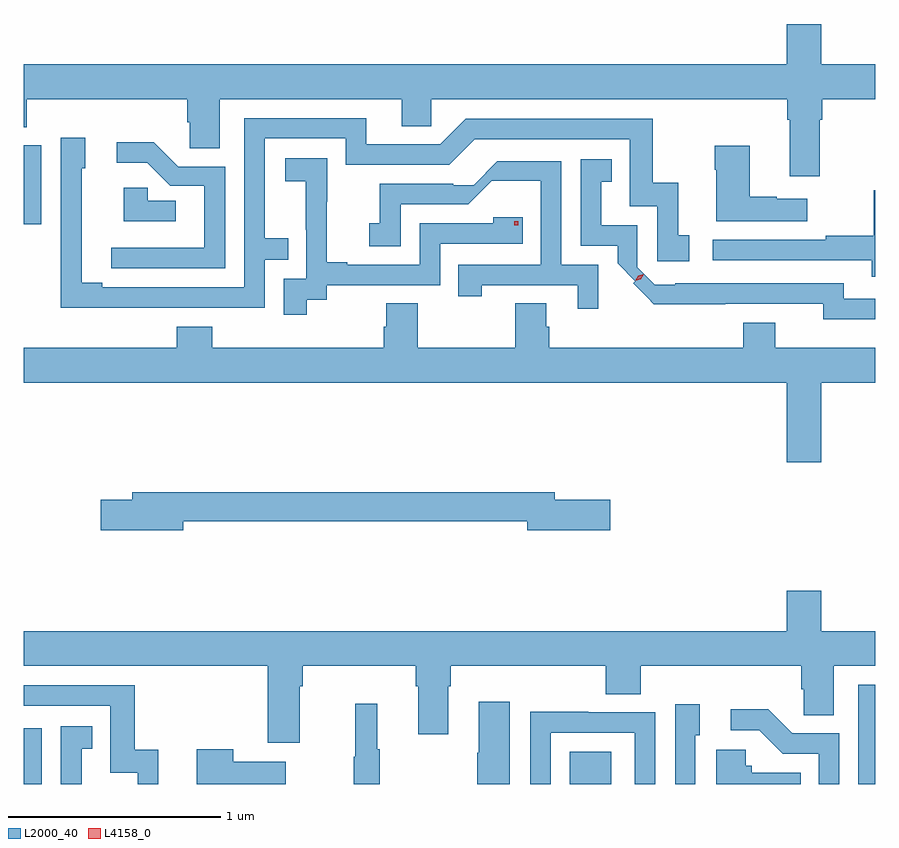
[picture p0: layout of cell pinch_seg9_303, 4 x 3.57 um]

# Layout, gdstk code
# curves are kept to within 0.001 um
import gdstk
lib = gdstk.Library(unit=1e-6, precision=1e-09)
def R(c, l, rs):  # rectangles x0, y0, x1, y1
    for r in rs: c.add(gdstk.rectangle(r[:2], r[2:], *l))
def P(c, l, *ps):  # polygons
    for p in ps: c.add(gdstk.Polygon(p, *l))
L2000_40 = (2000, 40)
L4158_0 = (4158, 0)

pinch_seg9_303 = lib.new_cell('pinch_seg9_303')
R(pinch_seg9_303, L2000_40, [(509.076,1186.541,509.16,1186.803), (511.64,1186.541,511.837,1186.693), (512.997,1186.541,513.076,1187.007), (509.076,1189.173,509.157,1189.542)])
P(pinch_seg9_303, L2000_40, [(512.815,1189.664),(512.828,1189.664),(512.828,1189.76),(513.076,1189.76),(513.076,1189.924),(512.824,1189.924),(512.824,1190.113),(512.66,1190.113),(512.66,1189.924),(509.076,1189.924),(509.076,1189.627),(509.09,1189.627),(509.09,1189.76),(509.843,1189.76),(509.843,1189.651),(509.856,1189.651),(509.856,1189.528),(509.995,1189.528),(509.995,1189.76),(510.851,1189.76),(510.851,1189.633),(510.99,1189.633),(510.99,1189.76),(512.663,1189.76),(512.663,1189.664),(512.675,1189.664),(512.675,1189.398),(512.815,1189.398)],
  [(509.711,1188.78),(510.207,1188.78),(510.207,1189.005),(510.317,1189.005),(510.317,1189.106),(510.207,1189.106),(510.207,1189.575),(510.588,1189.575),(510.588,1189.452),(511.074,1189.452),(511.194,1189.572),(511.923,1189.572),(511.923,1189.257),(512.052,1189.257),(512.052,1188.999),(512.203,1188.999),(512.203,1189.119),(512.15,1189.119),(512.15,1189.366),(512.032,1189.366),(512.032,1189.668),(511.152,1189.668),(511.032,1189.548),(510.685,1189.548),(510.685,1189.671),(510.111,1189.671),(510.111,1188.876),(509.443,1188.876),(509.443,1188.896),(509.347,1188.896),(509.348,1189.434),(509.365,1189.434),(509.365,1189.579),(509.25,1189.579),(509.25,1189.085),(509.248,1189.085),(509.248,1188.779)],
  [(510.021,1189.443),(509.802,1189.443),(509.687,1189.558),(509.511,1189.558),(509.511,1189.46),(509.655,1189.46),(509.763,1189.353),(509.924,1189.353),(509.924,1189.062),(509.487,1189.062),(509.487,1188.966),(510.021,1188.966)],
  [(512.758,1189.291),(512.615,1189.291),(512.615,1189.301),(512.488,1189.301),(512.488,1189.54),(512.323,1189.54),(512.323,1189.427),(512.33,1189.427),(512.33,1189.187),(512.758,1189.187)],
  [(510.406,1188.817),(510.498,1188.817),(510.498,1188.885),(511.032,1188.885),(511.032,1189.08),(511.421,1189.08),(511.421,1189.204),(511.281,1189.204),(511.281,1189.176),(510.936,1189.176),(510.936,1188.981),(510.595,1188.981),(510.595,1188.994),(510.5,1188.994),(510.5,1189.277),(510.501,1189.277),(510.501,1189.483),(510.303,1189.483),(510.303,1189.373),(510.401,1189.373),(510.401,1189.145),(510.402,1189.145),(510.402,1188.915),(510.297,1188.915),(510.297,1188.747),(510.406,1188.747)],
  [(513.076,1188.822),(512.928,1188.822),(512.928,1188.894),(512.137,1188.894),(512.137,1188.888),(512.04,1188.888),(511.959,1188.969),(511.959,1189.167),(511.789,1189.167),(511.789,1189.371),(511.838,1189.371),(511.838,1189.477),(511.692,1189.477),(511.692,1189.071),(511.866,1189.071),(511.866,1188.988),(511.949,1188.905),(511.939,1188.895),(512.037,1188.797),(512.832,1188.798),(512.832,1188.725),(513.076,1188.725)],
  [(511.776,1188.981),(511.602,1188.981),(511.602,1189.467),(511.301,1189.467),(511.19,1189.356),(511.093,1189.356),(511.093,1189.362),(510.748,1189.362),(510.748,1189.177),(510.699,1189.177),(510.699,1189.068),(510.846,1189.068),(510.846,1189.266),(511.163,1189.266),(511.274,1189.377),(511.506,1189.377),(511.506,1188.981),(511.117,1188.981),(511.117,1188.834),(511.228,1188.834),(511.228,1188.885),(511.679,1188.885),(511.679,1188.774),(511.776,1188.774)],
  [(509.79,1189.282),(509.657,1189.282),(509.657,1189.344),(509.545,1189.344),(509.545,1189.185),(509.79,1189.185)],
  [(513.076,1189.332),(513.069,1189.332),(513.069,1189.118),(512.845,1189.118),(512.845,1189.098),(512.313,1189.098),(512.313,1189.002),(513.061,1189.002),(513.061,1188.924),(513.076,1188.924)],
  [(512.824,1188.428),(513.076,1188.428),(513.076,1188.592),(512.608,1188.592),(512.608,1188.709),(512.456,1188.709),(512.456,1188.592),(511.544,1188.592),(511.544,1188.69),(511.531,1188.69),(511.531,1188.8),(511.384,1188.8),(511.384,1188.592),(510.927,1188.592),(510.927,1188.8),(510.779,1188.8),(510.779,1188.69),(510.767,1188.69),(510.767,1188.592),(509.96,1188.592),(509.96,1188.691),(509.795,1188.691),(509.795,1188.592),(509.076,1188.592),(509.076,1188.428),(512.66,1188.428),(512.66,1188.054),(512.824,1188.054)],
  [(509.824,1187.776),(511.442,1187.776),(511.442,1187.734),(511.831,1187.734),(511.831,1187.876),(511.57,1187.876),(511.57,1187.912),(509.585,1187.912),(509.585,1187.876),(509.436,1187.876),(509.436,1187.734),(509.824,1187.734)],
  [(510.373,1187),(510.386,1187),(510.386,1187.096),(510.917,1187.096),(510.917,1187),(510.929,1187),(510.929,1186.776),(511.069,1186.776),(511.069,1187),(511.082,1187),(511.082,1187.096),(511.811,1187.096),(511.811,1186.963),(511.976,1186.963),(511.976,1187.096),(512.729,1187.096),(512.729,1186.987),(512.742,1186.987),(512.742,1186.864),(512.881,1186.864),(512.881,1187.096),(513.076,1187.096),(513.076,1187.26),(512.824,1187.26),(512.824,1187.449),(512.66,1187.449),(512.66,1187.26),(509.076,1187.26),(509.076,1187.096),(510.221,1187.096),(510.221,1186.734),(510.373,1186.734)],
  [(509.708,1186.702),(509.597,1186.702),(509.597,1187.004),(509.076,1187.004),(509.076,1186.908),(509.481,1186.908),(509.481,1186.593),(509.61,1186.593),(509.61,1186.541),(509.708,1186.541)],
  [(511.36,1186.927),(511.214,1186.927),(511.214,1186.688),(511.207,1186.688),(511.207,1186.541),(511.36,1186.541)],
  [(510.748,1186.705),(510.737,1186.705),(510.737,1186.918),(510.634,1186.918),(510.634,1186.668),(510.627,1186.668),(510.627,1186.541),(510.748,1186.541)],
  [(512.232,1186.77),(512.251,1186.77),(512.251,1186.915),(512.136,1186.915),(512.136,1186.541),(512.232,1186.541)],
  [(512.907,1186.779),(512.688,1186.779),(512.575,1186.892),(512.397,1186.892),(512.397,1186.794),(512.531,1186.794),(512.642,1186.683),(512.811,1186.683),(512.811,1186.541),(512.907,1186.541)],
  [(511.551,1186.782),(511.947,1186.782),(511.947,1186.541),(512.043,1186.541),(512.043,1186.878),(511.727,1186.878),(511.727,1186.88),(511.455,1186.88),(511.455,1186.541),(511.551,1186.541)],
  [(509.347,1186.707),(509.396,1186.707),(509.396,1186.813),(509.25,1186.813),(509.25,1186.541),(509.347,1186.541)],
  [(510.307,1186.645),(510.059,1186.645),(510.059,1186.705),(509.888,1186.705),(509.888,1186.541),(510.307,1186.541)],
  [(512.726,1186.594),(512.496,1186.594),(512.496,1186.626),(512.469,1186.626),(512.469,1186.702),(512.33,1186.702),(512.33,1186.541),(512.726,1186.541)])
R(pinch_seg9_303, L4158_0, [(511.38,1189.166,511.4,1189.186)])
P(pinch_seg9_303, L4158_0, [(511.949,1188.906),(511.949,1188.906),(511.962,1188.93),(511.987,1188.938),(511.988,1188.938),(511.988,1188.937),(511.974,1188.914),(511.949,1188.906)])

lib.write_gds('pinch_seg9_303.gds')
